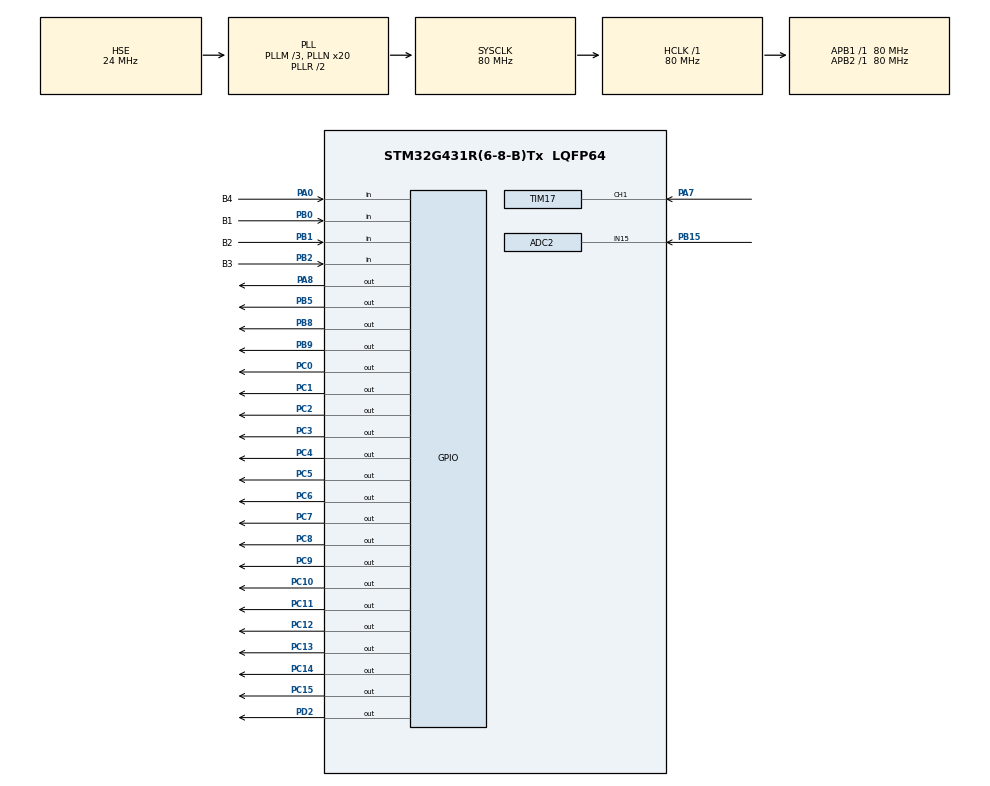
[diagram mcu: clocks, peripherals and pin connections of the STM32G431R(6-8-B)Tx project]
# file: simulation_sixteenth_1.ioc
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ADC2.Channel-0\#ChannelRegularConversion=ADC_CHANNEL_15
ADC2.ContinuousConvMode=DISABLE
ADC2.NbrOfConversionFlag=1
ADC2.OffsetNumber-0\#ChannelRegularConversion=ADC_OFFSET_NONE
ADC2.Rank-0\#ChannelRegularConversion=1
ADC2.SamplingTime-0\#ChannelRegularConversion=ADC_SAMPLETIME_2CYCLES_5
Mcu.Family=STM32G4
Mcu.Name=STM32G431R(6-8-B)Tx
Mcu.Package=LQFP64
NVIC.PriorityGroup=NVIC_PRIORITYGROUP_4
NVIC.TIM1_TRG_COM_TIM17_IRQn=true\:0\:0\:false\:false\:true\:true\:true\:true
PA0.GPIO_Label=B4
PA0.GPIO_PuPd=GPIO_PULLUP
PA0.Signal=GPIO_Input
PA13.Mode=Serial_Wire
PA13.Signal=SYS_JTMS-SWDIO
PA14.Mode=Serial_Wire
PA14.Signal=SYS_JTCK-SWCLK
PA7.Signal=S_TIM17_CH1
PA8.Signal=GPIO_Output
PB0.GPIO_Label=B1
PB0.GPIO_PuPd=GPIO_PULLUP
PB0.Signal=GPIO_Input
PB1.GPIO_Label=B2
PB1.GPIO_PuPd=GPIO_PULLUP
PB1.Signal=GPIO_Input
PB15.Mode=IN15-Single-Ended
PB15.Signal=ADC2_IN15
PB2.GPIO_Label=B3
PB2.GPIO_PuPd=GPIO_PULLUP
PB2.Signal=GPIO_Input
PB5.Signal=GPIO_Output
PB8-BOOT0.Signal=GPIO_Output
PB9.Signal=GPIO_Output
PC0.Signal=GPIO_Output
PC1.Signal=GPIO_Output
PC10.Signal=GPIO_Output
PC11.Signal=GPIO_Output
PC12.Signal=GPIO_Output
PC13.Signal=GPIO_Output
PC14-OSC32_IN.Signal=GPIO_Output
PC15-OSC32_OUT.Signal=GPIO_Output
PC2.Signal=GPIO_Output
PC3.Signal=GPIO_Output
PC4.Signal=GPIO_Output
PC5.Signal=GPIO_Output
PC6.Signal=GPIO_Output
PC7.Signal=GPIO_Output
PC8.Signal=GPIO_Output
PC9.Signal=GPIO_Output
PD2.Signal=GPIO_Output
PF0-OSC_IN.Mode=HSE-External-Oscillator
PF0-OSC_IN.Signal=RCC_OSC_IN
PF1-OSC_OUT.Mode=HSE-External-Oscillator
PF1-OSC_OUT.Signal=RCC_OSC_OUT
ProjectManager.HeapSize=0x200
ProjectManager.StackSize=0x400
ProjectManager.TargetToolchain=MDK-ARM V5.32
RCC.ADC12Freq_Value=80000000
RCC.AHBFreq_Value=80000000
RCC.APB1Freq_Value=80000000
RCC.APB1TimFreq_Value=80000000
RCC.APB2Freq_Value=80000000
RCC.APB2TimFreq_Value=80000000
RCC.CortexFreq_Value=80000000
RCC.EXTERNAL_CLOCK_VALUE=12288000
RCC.HCLKFreq_Value=80000000
RCC.HSE_VALUE=24000000
RCC.HSI48_VALUE=48000000
RCC.HSI_VALUE=16000000
RCC.LSE_VALUE=32768
RCC.PLLM=RCC_PLLM_DIV3
RCC.PLLN=20
RCC.PLLSourceVirtual=RCC_PLLSOURCE_HSE
RCC.SYSCLKFreq_VALUE=80000000
RCC.SYSCLKSource=RCC_SYSCLKSOURCE_PLLCLK
RCC.USBFreq_Value=80000000
RCC.VCOOutputFreq_Value=160000000
SH.S_TIM17_CH1.0=TIM17_CH1,Input_Capture1_from_TI1
TIM17.Channel=TIM_CHANNEL_1
TIM17.PeriodNoDither=100-1
TIM17.Prescaler=800-1
VP_SYS_VS_DBSignals.Mode=DisableDeadBatterySignals
VP_TIM17_VS_ClockSourceINT.Mode=Enable_Timer
board=custom

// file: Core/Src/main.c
/* USER CODE BEGIN Header */
/**
  ******************************************************************************
  * @file           : main.c
  * @brief          : Main program body
  ******************************************************************************
  * @attention
  *
  * Copyright (c) 2025 STMicroelectronics.
  * All rights reserved.
  *
  * This software is licensed under terms that can be found in the LICENSE file
  * in the root directory of this software component.
  * If no LICENSE file comes with this software, it is provided AS-IS.
  *
  ******************************************************************************
  */
/* USER CODE END Header */
#include "main.h"
#include "adc.h"
#include "tim.h"
#include "gpio.h"

void SystemClock_Config(void);

/* USER CODE BEGIN 0 */
u8 lcd_mod=0;
u8 pass_word[3]={'*','*','*'};
int pass_word_int[3]={0,0,0};
u8 PASS_WORD_INDEX=0;
u8 b1,b11;
double V_R37;
int TIM_3S=0,TIM_3S_CON=0;
void HAL_TIM_PeriodElapsedCallback(TIM_HandleTypeDef *htim)
{
	if(htim->Instance==TIM17)
	{
		if(TIM_3S_CON==1)
			if(++TIM_3S==3000)
			{
				TIM_3S_CON=0;
				LCD_Clear(Black);
				PASS_WORD_INDEX=0;
				int i;for(i=0;i<3;i++) pass_word[i]='*';
				lcd_mod=0;
			}
	}
}

void write_24c02(uint8_t addr,uint8_t data)
{
	I2CStart();
	I2CSendByte(0xa0);
	I2CWaitAck();
	I2CSendByte(addr);
	I2CWaitAck();
	I2CSendByte(data);
	I2CWaitAck();
	I2CStop();
	HAL_Delay(50);
}

uint8_t read_24c02(uint8_t addr)
{
	uint8_t data;
	I2CStart();
	I2CSendByte(0xa0);
	I2CWaitAck();
	I2CSendByte(addr);
	I2CWaitAck();
	I2CStop();
	HAL_Delay(50);
	I2CStart();
	I2CSendByte(0xa1);
	I2CWaitAck();
	data = I2CReceiveByte();
	I2CSendNotAck();
	I2CStop();
	HAL_Delay(50);
	return data;
}
void lcd_proc(void)
{
	u8 text[20];
	if(lcd_mod==0)
	{
		TIM_3S_CON=0;
		sprintf((char *)text,"        Lock       ");
		LCD_DisplayStringLine(Line1, (unsigned char *)text);
		sprintf((char *)text,"      Pass Word    ");
		LCD_DisplayStringLine(Line3, (unsigned char *)text);
		sprintf((char *)text,"        %c %c %c      ",pass_word[0],pass_word[1],pass_word[2]);
		LCD_DisplayStringLine(Line4, (unsigned char *)text);
	}
	if(lcd_mod==1)
	{
		TIM_3S_CON=1;
		sprintf((char *)text,"        Set       ");
		LCD_DisplayStringLine(Line1, (unsigned char *)text);
		sprintf((char *)text,"       Change     ");
		LCD_DisplayStringLine(Line3, (unsigned char *)text);
		sprintf((char *)text,"        %c %c %c      ",pass_word[0],pass_word[1],pass_word[2]);
		LCD_DisplayStringLine(Line4, (unsigned char *)text);
	}
//		sprintf((char *)text,"        %c %c %c      ",pass_word_int[0]+48,pass_word_int[1]+48,pass_word_int[2]+48);
//		LCD_DisplayStringLine(Line6, (unsigned char *)text);
}
void key_proc(void)
{
	//---------------------------KEY---------------------------//
	int i,y=0;
	if(HAL_GPIO_ReadPin(B1_GPIO_Port,B1_Pin)==0) b1=1;
	else b1=0;
	if(b1==1&&b11==0)
	{
		b11=1;
		PASS_WORD_INDEX++;
		TIM_3S=0;
		if(lcd_mod==0)
		{
			if(PASS_WORD_INDEX==3)
			{
				PASS_WORD_INDEX=0;
				LCD_Clear(Black);
				y=1;
				for(i=0;i<3;i++)
				{
					if(pass_word[i]!=pass_word_int[i]+48) y=0;
				}
				if(y==1)
				{
					LCD_Clear(Black);
					lcd_mod=1;
				}
					for(i=0;i<3;i++) pass_word[i]='*';
			}
		}
		if(lcd_mod==1)
		{
			if(PASS_WORD_INDEX!=0)
			{
				pass_word_int[PASS_WORD_INDEX-1]=pass_word[PASS_WORD_INDEX-1]-48;
				if(PASS_WORD_INDEX-1==0) write_24c02(0,pass_word_int[PASS_WORD_INDEX-1]);
				if(PASS_WORD_INDEX-1==1) write_24c02(1,pass_word_int[PASS_WORD_INDEX-1]);
				if(PASS_WORD_INDEX-1==2) write_24c02(2,pass_word_int[PASS_WORD_INDEX-1]);
				TIM_3S=0;
			}
			if(PASS_WORD_INDEX==3)
			{
				PASS_WORD_INDEX=0;
				for(i=0;i<3;i++) pass_word[i]='*';
				LCD_Clear(Black);
				lcd_mod=0;
			}
		}
	}if(b1==0&&b11==1) b11=0;
}
/* USER CODE END 0 */

int main(void)
{

  /* MCU Configuration--------------------------------------------------------*/

  /* Reset of all peripherals, Initializes the Flash interface and the Systick. */
  HAL_Init();

  /* Configure the system clock */
  SystemClock_Config();

  /* Initialize all configured peripherals */
  MX_GPIO_Init();
  MX_ADC2_Init();
  MX_TIM17_Init();

  /* Infinite loop */
  /* USER CODE BEGIN WHILE */
	LCD_Init();
	LCD_SetBackColor(Black);
	LCD_SetTextColor(White);
	LCD_Clear(Black);
	HAL_TIM_Base_Start_IT(&htim17);
	I2CInit();
	HAL_Delay(100);
	write_24c02(0,0);
	write_24c02(1,1);
	write_24c02(2,2);
	HAL_Delay(100);
	pass_word_int[0]=read_24c02(0);
	pass_word_int[1]=read_24c02(1);
	pass_word_int[2]=read_24c02(2);
	while(1)
	{
	//---------------------------ADC---------------------------//
	HAL_ADC_Start(&hadc2);
	V_R37=HAL_ADC_GetValue(&hadc2)/4095.0*3.3;
	HAL_ADC_Stop(&hadc2);
	if(V_R37<1.5) pass_word[PASS_WORD_INDEX]=0+48;
	if(V_R37>=1.5&&V_R37<=2.5) pass_word[PASS_WORD_INDEX]=1+48;
	if(V_R37>2.5) pass_word[PASS_WORD_INDEX]=2+48;
    /* USER CODE END WHILE */

    /* USER CODE BEGIN 3 */
	  lcd_proc();
	  key_proc();

	HAL_GPIO_WritePin(GPIOC,(uint16_t)0xff00,GPIO_PIN_SET);
	if(lcd_mod==0) HAL_GPIO_WritePin(GPIOC,GPIO_PIN_8,GPIO_PIN_RESET);
	if(lcd_mod==1) HAL_GPIO_WritePin(GPIOC,GPIO_PIN_9,GPIO_PIN_RESET);
	HAL_GPIO_WritePin(GPIOD,GPIO_PIN_2,GPIO_PIN_SET);
	HAL_GPIO_WritePin(GPIOD,GPIO_PIN_2,GPIO_PIN_RESET);
  }
  /* USER CODE END 3 */
}

void SystemClock_Config(void)
{
  RCC_OscInitTypeDef RCC_OscInitStruct = {0};
  RCC_ClkInitTypeDef RCC_ClkInitStruct = {0};

  /** Configure the main internal regulator output voltage
  */
  HAL_PWREx_ControlVoltageScaling(PWR_REGULATOR_VOLTAGE_SCALE1);

  /** Initializes the RCC Oscillators according to the specified parameters
  * in the RCC_OscInitTypeDef structure.
  */
  RCC_OscInitStruct.OscillatorType = RCC_OSCILLATORTYPE_HSE;
  RCC_OscInitStruct.HSEState = RCC_HSE_ON;
  RCC_OscInitStruct.PLL.PLLState = RCC_PLL_ON;
  RCC_OscInitStruct.PLL.PLLSource = RCC_PLLSOURCE_HSE;
  RCC_OscInitStruct.PLL.PLLM = RCC_PLLM_DIV3;
  RCC_OscInitStruct.PLL.PLLN = 20;
  RCC_OscInitStruct.PLL.PLLP = RCC_PLLP_DIV2;
  RCC_OscInitStruct.PLL.PLLQ = RCC_PLLQ_DIV2;
  RCC_OscInitStruct.PLL.PLLR = RCC_PLLR_DIV2;
  if (HAL_RCC_OscConfig(&RCC_OscInitStruct) != HAL_OK)
  {
    Error_Handler();
  }

  /** Initializes the CPU, AHB and APB buses clocks
  */
  RCC_ClkInitStruct.ClockType = RCC_CLOCKTYPE_HCLK|RCC_CLOCKTYPE_SYSCLK
                              |RCC_CLOCKTYPE_PCLK1|RCC_CLOCKTYPE_PCLK2;
  RCC_ClkInitStruct.SYSCLKSource = RCC_SYSCLKSOURCE_PLLCLK;
  RCC_ClkInitStruct.AHBCLKDivider = RCC_SYSCLK_DIV1;
  RCC_ClkInitStruct.APB1CLKDivider = RCC_HCLK_DIV1;
  RCC_ClkInitStruct.APB2CLKDivider = RCC_HCLK_DIV1;

  if (HAL_RCC_ClockConfig(&RCC_ClkInitStruct, FLASH_LATENCY_2) != HAL_OK)
  {
    Error_Handler();
  }
}

void Error_Handler(void)
{
  __disable_irq();
  while (1)
  {
  }
}
